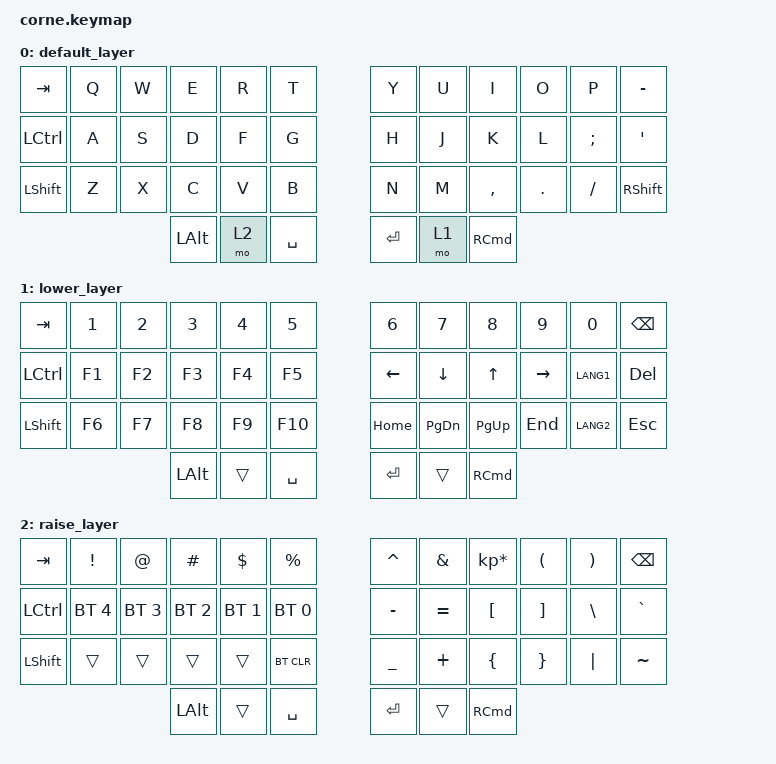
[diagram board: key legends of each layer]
/*
 * Copyright (c) 2020 The ZMK Contributors
 *
 * SPDX-License-Identifier: MIT
 */

#include <behaviors.dtsi>
#include <dt-bindings/zmk/bt.h>
#include <dt-bindings/zmk/keys.h>

/ {
    keymap {
        compatible = "zmk,keymap";

        default_layer {
            // -----------------------------------------------------------------------------------------
            // |  TAB |  Q  |  W  |  E  |  R  |  T  |   |  Y  |  U   |  I  |  O  |  P  | BKSP |
            // | CTRL |  A  |  S  |  D  |  F  |  G  |   |  H  |  J   |  K  |  L  |  ;  |  '   |
            // | SHFT |  Z  |  X  |  C  |  V  |  B  |   |  N  |  M   |  ,  |  .  |  /  | ESC  |
            //                    | GUI | LWR | SPC |   | ENT | RSE  | ALT |

            bindings = <
  &kp TAB  &kp Q  &kp W         &kp E  &kp R      &kp T      &kp Y  &kp U              &kp I    &kp O     &kp P        &kp MINUS
&kp LCTRL  &kp A  &kp S         &kp D  &kp F      &kp G      &kp H  &kp J              &kp K    &kp L  &kp SEMI          &kp SQT
&kp LSHFT  &kp Z  &kp X         &kp C  &kp V      &kp B      &kp N  &kp M          &kp COMMA  &kp DOT  &kp FSLH  &kp RIGHT_SHIFT
                         &kp LEFT_ALT  &mo 2  &kp SPACE    &kp RET  &mo 1  &kp RIGHT_COMMAND
            >;
        };

        lower_layer {
            // -----------------------------------------------------------------------------------------
            // |  TAB |  1  |  2  |  3  |  4  |  5  |   |  6  |  7  |  8  |  9  |  0  | BKSP |
            // | BTCLR| BT1 | BT2 | BT3 | BT4 | BT5 |   | LFT | DWN |  UP | RGT |     |      |
            // | SHFT |     |     |     |     |     |   |     |     |     |     |     |      |
            //                    | GUI |     | SPC |   | ENT |     | ALT |

            bindings = <
  &kp TAB  &kp NUMBER_1  &kp N2        &kp N3  &kp N4     &kp N5      &kp N6         &kp N7             &kp N8     &kp N9     &kp N0    &kp BSPC
&kp LCTRL        &kp F1  &kp F2        &kp F3  &kp F4     &kp F5    &kp LEFT       &kp DOWN             &kp UP  &kp RIGHT  &kp LANG1  &kp DELETE
&kp LSHFT        &kp F6  &kp F7        &kp F8  &kp F9    &kp F10    &kp HOME  &kp PAGE_DOWN        &kp PAGE_UP    &kp END  &kp LANG2  &kp ESCAPE
                                 &kp LEFT_ALT  &trans  &kp SPACE     &kp RET         &trans  &kp RIGHT_COMMAND
            >;
        };

        raise_layer {
            // -----------------------------------------------------------------------------------------
            // |  TAB |  !  |  @  |  #  |  $  |  %  |   |  ^  |  &  |  *  |  (  |  )  | BKSP |
            // | CTRL |     |     |     |     |     |   |  -  |  =  |  [  |  ]  |  \  |  `   |
            // | SHFT |     |     |     |     |     |   |  _  |  +  |  {  |  }  | "|" |  ~   |
            //                    | GUI |     | SPC |   | ENT |     | ALT |

            bindings = <
       &kp TAB      &kp EXCL        &kp AT      &kp HASH      &kp DLLR     &kp PRCNT    &kp CARET   &kp AMPS    &kp KP_MULTIPLY  &kp LPAR  &kp RPAR   &kp BSPC
     &kp LCTRL  &bt BT_SEL 4  &bt BT_SEL 3  &bt BT_SEL 2  &bt BT_SEL 1  &bt BT_SEL 0    &kp MINUS  &kp EQUAL           &kp LBKT  &kp RBKT  &kp BSLH  &kp GRAVE
&kp LEFT_SHIFT        &trans        &trans        &trans        &trans    &bt BT_CLR    &kp UNDER   &kp PLUS           &kp LBRC  &kp RBRC  &kp PIPE  &kp TILDE
                                            &kp LEFT_ALT        &trans     &kp SPACE      &kp RET     &trans  &kp RIGHT_COMMAND
            >;
        };
    };
};
